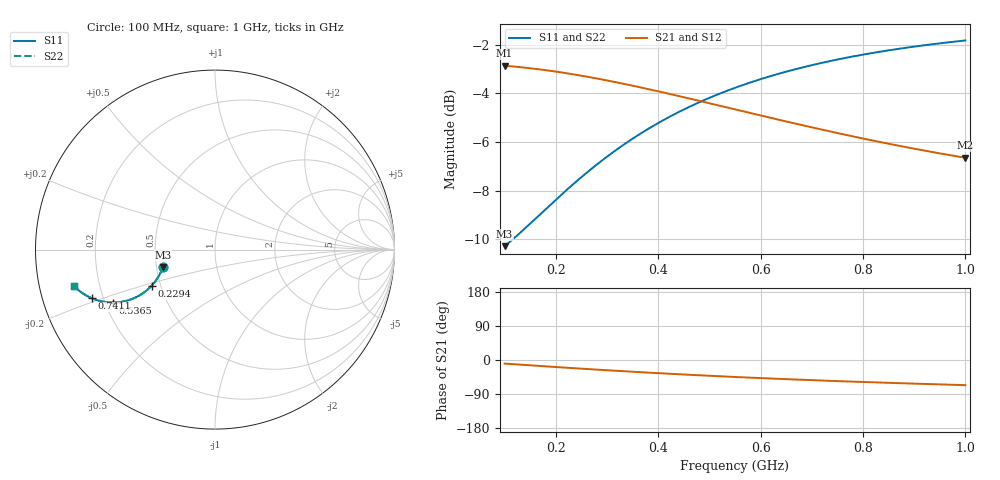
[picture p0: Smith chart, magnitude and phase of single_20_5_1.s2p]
! Created with skrf (http://scikit-rf.org).
# MHz S RI R 376.73031366686166
!freq ReS11 ImS11 ReS21 ImS21 ReS12 ImS12 ReS22 ImS22
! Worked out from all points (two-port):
!   300 points, 100 MHz to 1 GHz, reference 376.73 ohm
!   highest |S21| = -2.86 dB at 100 MHz (marker M1); lowest = -6.6 dB at 1 GHz (marker M2)
!   |S21| within 3 dB of the highest: start of sweep to 801.5 MHz
!   lowest |S11| = -10.3 dB at 100 MHz (marker M3), VSWR 1.88, Z = 204 - j43.8 ohm
!   |S11| at or under -10 dB: start of sweep to 116 MHz
!   |S22| runs from -10.3 to -1.8 dB; largest |S21 - S12| = 1.4e-15
!   S11 on the Smith chart (normalised r, x): 100 MHz: 0.54, -0.12; 229.4 MHz: 0.45, -0.22; 536.5 MHz: 0.23, -0.23; 741.1 MHz: 0.16, -0.19; 1 GHz: 0.11, -0.13
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100  -0.2902 -0.0973  0.7096 -0.1183  0.7096 -0.1183  -0.2902 -0.0973
130.1003  -0.3012 -0.1245  0.6984 -0.1518  0.6984 -0.1518  -0.3012 -0.1245
160.2007  -0.3147 -0.15  0.6847 -0.1836  0.6847 -0.1836  -0.3147 -0.15
196.3211  -0.3336 -0.1782  0.6654 -0.2194  0.6654 -0.2194  -0.3336 -0.1782
229.4314  -0.3532 -0.2014  0.6454 -0.2496  0.6454 -0.2496  -0.3532 -0.2014
250.5017  -0.3666 -0.2148  0.6318 -0.2675  0.6318 -0.2675  -0.3666 -0.2148
286.6221  -0.3909 -0.2352  0.6071 -0.2956  0.6071 -0.2956  -0.3909 -0.2352
325.7525  -0.4184 -0.2537  0.5789 -0.3224  0.5789 -0.3224  -0.4184 -0.2537
361.8729  -0.4446 -0.2674  0.5521 -0.3439  0.5521 -0.3439  -0.4446 -0.2674
401.0033  -0.4731 -0.2789  0.5229 -0.3638  0.5229 -0.3638  -0.4731 -0.2789
434.1137  -0.4971 -0.286  0.4981 -0.378  0.4981 -0.378  -0.4971 -0.286
467.2241  -0.5207 -0.2909  0.4737 -0.3901  0.4737 -0.3901  -0.5207 -0.2909
500.3344  -0.5438 -0.2938  0.4498 -0.4003  0.4498 -0.4003  -0.5438 -0.2938
536.4548  -0.5681 -0.2949  0.4245 -0.4093  0.4245 -0.4093  -0.5681 -0.2949
551.505  -0.578 -0.2948  0.4142 -0.4125  0.4142 -0.4125  -0.578 -0.2948
623.7458  -0.6228 -0.2901  0.3671 -0.4239  0.3671 -0.4239  -0.6228 -0.2901
702.0067  -0.6662 -0.2788  0.3208 -0.4303  0.3208 -0.4303  -0.6662 -0.2788
741.1371  -0.6859 -0.2712  0.2995 -0.4318  0.2995 -0.4318  -0.6859 -0.2712
795.3177  -0.7109 -0.2592  0.272 -0.4324  0.272 -0.4324  -0.7109 -0.2592
852.5084  -0.7347 -0.245  0.2454 -0.4317  0.2454 -0.4317  -0.7347 -0.245
924.7492  -0.7612 -0.2254  0.2149 -0.4295  0.2149 -0.4295  -0.7612 -0.2254
1000  -0.7849 -0.2035  0.1866 -0.4262  0.1866 -0.4262  -0.7849 -0.2035
